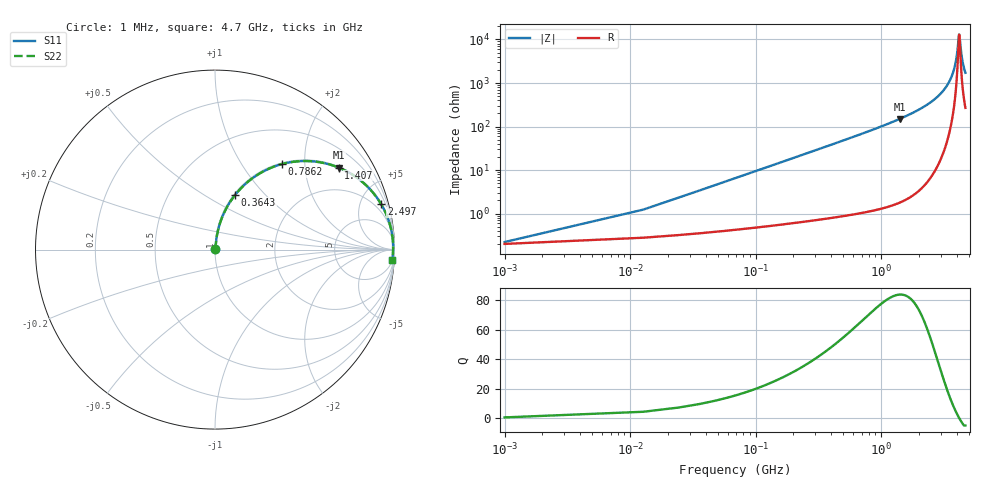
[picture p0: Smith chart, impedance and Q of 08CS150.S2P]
! Coilcraft 0805CS-150 Chip Inductor
! 11 June 2002
# MHZ S MA R 50
!Freq  MagS11  AngS11  MagS21  AngS21  MagS12  AngS12  MagS22  AngS22
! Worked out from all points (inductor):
!   402 points, 1 MHz to 4.7 GHz, reference 50 ohm
!   read as one part in series: L = 15 nH near 24.44 MHz
!   highest Q = 84 at 1.407 GHz (marker M1), where L = 16.9 nH
!   self-resonance near 4.185 GHz
!   S11 on the Smith chart (normalised r, x): 1 MHz: 1.00, +0.00; 364.3 MHz: 1.02, +0.69; 786.2 MHz: 1.02, +1.54; 1.407 GHz: 1.04, +2.99; 2.497 GHz: 1.14, +7.29; 4.7 GHz: 6, -34
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1  0.00221 25.1  0.998 -0.1  0.998 -0.1  0.00221 25.1
36.16  0.03412 82.1  0.9959 -1.9  0.9959 -1.9  0.03412 82.1
59.6  0.05601 82.7  0.9944 -3.2  0.9944 -3.2  0.05601 82.7
94.76  0.08871 81.9  0.9914 -5.1  0.9914 -5.1  0.08871 81.9
141.64  0.1319 80.1  0.986 -7.6  0.986 -7.6  0.1319 80.1
200.24  0.1849 77.5  0.9769 -10.6  0.9769 -10.6  0.1849 77.5
364.32  0.3248 69.8  0.9387 -19.0  0.9387 -19.0  0.3248 69.8
551.84  0.4645 61.3  0.8776 -27.7  0.8776 -27.7  0.4645 61.3
786.24  0.605 52.0  0.7876 -37.2  0.7876 -37.2  0.605 52.0
1407.4  0.8266 33.6  0.553 -55.7  0.553 -55.7  0.8266 33.6
1571.48  0.8604 30.0  0.4994 -59.4  0.4994 -59.4  0.8604 30.0
2356.72  0.9512 17.0  0.2931 -72.0  0.2931 -72.0  0.9512 17.0
2497.36  0.9598 15.3  0.2633 -73.7  0.2633 -73.7  0.9598 15.3
3141.96  0.9838 8.4  0.1459 -79.5  0.1459 -79.5  0.9838 8.4
3622.48  0.991 4.2  0.07409 -80.9  0.07409 -80.9  0.991 4.2
3927.2  0.9925 1.9  0.03389 -76.3  0.03389 -76.3  0.9925 1.9
4032.68  0.9926 1.1  0.02112 -68.9  0.02112 -68.9  0.9926 1.1
4161.6  0.9925 0.2  0.00854 -28.1  0.00854 -28.1  0.9925 0.2
4196.76  0.9924 -0.0  0.007606 1.2  0.007606 1.2  0.9924 -0.0
4419.44  0.9915 -1.5  0.02734 71.1  0.02734 71.1  0.9915 -1.5
4548.36  0.9906 -2.3  0.04138 75.7  0.04138 75.7  0.9906 -2.3
4700  0.9894 -3.3  0.05762 77.7  0.05762 77.7  0.9894 -3.3
